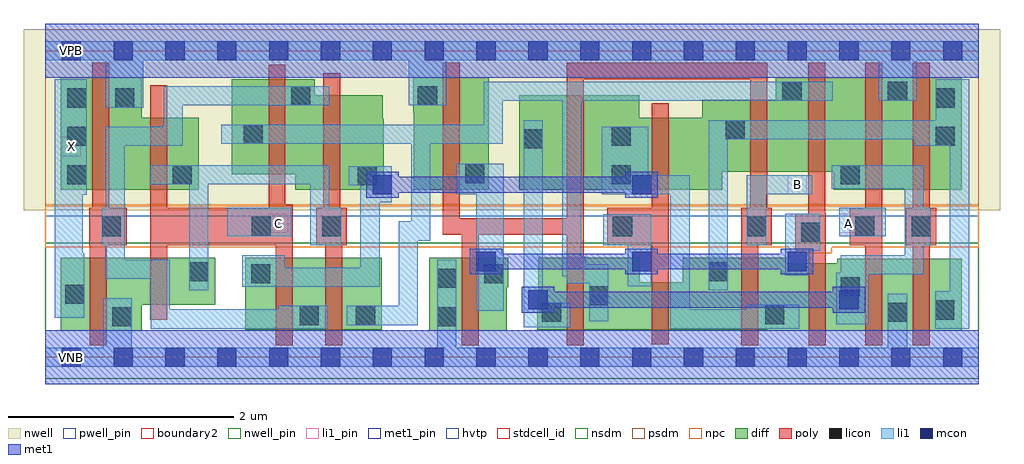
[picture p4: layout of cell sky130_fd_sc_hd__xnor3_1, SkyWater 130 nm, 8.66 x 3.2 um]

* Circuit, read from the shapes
.subckt sky130_fd_sc_hd__xnor3_1 A B C VGND VNB VPB VPWR X
XM1 VGND n1 X VNB sky130_fd_pr__nfet_01v8 w=0.65 l=0.15
XM2 n2 C VGND VNB sky130_fd_pr__nfet_01v8 w=0.42 l=0.15
XM3 n1 C n3 VNB sky130_fd_pr__nfet_01v8 w=0.64 l=0.15
XM4 n4 n2 n1 VNB sky130_fd_pr__nfet_01v8 w=0.64 l=0.15
XM5 n5 B VGND VNB sky130_fd_pr__nfet_01v8 w=0.65 l=0.15
XM6 n4 B n6 VNB sky130_fd_pr__nfet_01v8 w=0.64 l=0.15
XM7 n7 n5 n4 VNB sky130_fd_pr__nfet_01v8 w=0.42 l=0.15
XM8 n3 B n7 VNB sky130_fd_pr__nfet_01v8 w=0.64 l=0.15
XM9 n6 n5 n3 VNB sky130_fd_pr__nfet_01v8 w=0.6 l=0.15
XM10 VGND A n6 VNB sky130_fd_pr__nfet_01v8 w=0.64 l=0.15
XM11 n7 n6 VGND VNB sky130_fd_pr__nfet_01v8 w=0.64 l=0.15
XM12 VPWR n1 X VPB sky130_fd_pr__pfet_01v8_hvt w=1 l=0.15
XM13 n2 C VPWR VPB sky130_fd_pr__pfet_01v8_hvt w=0.64 l=0.15
XM14 n1 C n4 VPB sky130_fd_pr__pfet_01v8_hvt w=0.84 l=0.15
XM15 n3 n2 n1 VPB sky130_fd_pr__pfet_01v8_hvt w=0.84 l=0.15
XM16 n5 B VPWR VPB sky130_fd_pr__pfet_01v8_hvt w=1 l=0.15
XM17 n3 B n6 VPB sky130_fd_pr__pfet_01v8_hvt w=0.84 l=0.15
XM18 n7 n5 n3 VPB sky130_fd_pr__pfet_01v8_hvt w=0.64 l=0.15
XM19 n4 B n7 VPB sky130_fd_pr__pfet_01v8_hvt w=0.64 l=0.15
XM20 n6 n5 n4 VPB sky130_fd_pr__pfet_01v8_hvt w=0.84 l=0.15
XM21 VPWR A n6 VPB sky130_fd_pr__pfet_01v8_hvt w=1 l=0.15
XM22 n7 n6 VPWR VPB sky130_fd_pr__pfet_01v8_hvt w=1 l=0.15
.ends

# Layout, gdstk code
import gdstk
lib = gdstk.Library(unit=1e-6, precision=1e-09)
def R(c, l, rs):  # rectangles x0, y0, x1, y1
    for r in rs: c.add(gdstk.rectangle(r[:2], r[2:], *l))
def A(c, l, x, y, w, h, nx, ny, dx, dy):  # array of equal rectangles
    R(c, l, [(x+i*dx, y+j*dy, x+i*dx+w, y+j*dy+h) for i in range(nx) for j in range(ny)])
def P(c, l, *ps):  # polygons
    for p in ps: c.add(gdstk.Polygon(p, *l))
nwell_pin = (64, 16)
nwell = (64, 20)
diff = (65, 20)
poly = (66, 20)
licon = (66, 44)
li1_pin = (67, 16)
li1 = (67, 20)
mcon = (67, 44)
met1_pin = (68, 16)
met1 = (68, 20)
hvtp = (78, 44)
stdcell_id = (81, 4)
nsdm = (93, 44)
psdm = (94, 20)
npc = (95, 20)
pwell_pin = (122, 16)
boundary2 = (236, 0)

sky130_fd_sc_hd__xnor3_1 = lib.new_cell('sky130_fd_sc_hd__xnor3_1')
R(sky130_fd_sc_hd__xnor3_1, nwell_pin, [(0.145,2.635,0.315,2.805)])
R(sky130_fd_sc_hd__xnor3_1, nwell, [(-0.19,1.305,8.47,2.91)])
R(sky130_fd_sc_hd__xnor3_1, diff, [(1.775,0.245,2.985,0.885)])
P(sky130_fd_sc_hd__xnor3_1, diff, [(1.36,2.125),(0.855,2.125),(0.855,2.485),(0.135,2.485),(0.135,1.485),(1.36,1.485)],
  [(1.505,0.885),(0.135,0.885),(0.135,0.235),(0.855,0.235),(0.855,0.465),(1.505,0.465)],
  [(3,2.115),(2.995,2.115),(2.995,2.325),(2.39,2.325),(2.39,2.465),(1.655,2.465),(1.655,1.625),(2.215,1.625),(2.215,1.485),(3,1.485)],
  [(3.935,2.485),(3.265,2.485),(3.265,2.175),(3.27,2.175),(3.27,1.485),(3.935,1.485)],
  [(4.105,0.885),(3.405,0.885),(3.405,0.235),(4.095,0.235),(4.095,0.62),(4.105,0.62)],
  [(8.13,2.485),(6.48,2.485),(6.48,2.285),(5.83,2.285),(5.83,2.125),(5.27,2.125),(5.27,2.325),(4.205,2.325),(4.205,1.485),(6.005,1.485),(6.005,1.645),(6.995,1.645),(6.995,1.485),(8.13,1.485)],
  [(8.13,0.875),(7.025,0.875),(7.025,0.835),(6.575,0.835),(6.575,0.885),(5.655,0.885),(5.655,0.665),(5.275,0.665),(5.275,0.885),(4.375,0.885),(4.375,0.52),(4.365,0.52),(4.365,0.245),(6.41,0.245),(6.41,0.235),(8.13,0.235)])
P(sky130_fd_sc_hd__xnor3_1, poly, [(0.72,1.325),(0.565,1.325),(0.565,2.615),(0.415,2.615),(0.415,1.325),(0.39,1.325),(0.39,0.995),(0.395,0.995),(0.395,0.105),(0.545,0.105),(0.545,0.995),(0.72,0.995)],
  [(2.195,1.355),(2.13,1.355),(2.13,2.595),(1.98,2.595),(1.98,1.325),(1.08,1.325),(1.08,2.415),(0.93,2.415),(0.93,0.335),(1.08,0.335),(1.08,0.995),(2.045,0.995),(2.045,0.105),(2.195,0.105)],
  [(2.675,1.325),(2.615,1.325),(2.615,2.52),(2.465,2.52),(2.465,1.325),(2.405,1.325),(2.405,0.995),(2.485,0.995),(2.485,0.105),(2.635,0.105),(2.635,0.995),(2.675,0.995)],
  [(5.53,2.255),(5.38,2.255),(5.38,1.325),(4.985,1.325),(4.985,0.995),(5.38,0.995),(5.38,0.115),(5.53,0.115)],
  [(6.445,1.325),(6.405,1.325),(6.405,2.615),(4.625,2.615),(4.625,1.235),(3.675,1.235),(3.675,2.615),(3.525,2.615),(3.525,1.085),(3.695,1.085),(3.695,0.105),(3.845,0.105),(3.845,1.085),(4.625,1.085),(4.625,0.105),(4.775,0.105),(4.775,2.465),(6.255,2.465),(6.255,1.325),(6.175,1.325),(6.175,0.105),(6.325,0.105),(6.325,0.995),(6.445,0.995)],
  [(7.905,1.325),(7.845,1.325),(7.845,2.615),(7.695,2.615),(7.695,1.325),(7.635,1.325),(7.635,0.995),(7.695,0.995),(7.695,0.105),(7.845,0.105),(7.845,0.995),(7.905,0.995)],
  [(6.925,1.28),(6.92,1.28),(6.92,2.615),(6.77,2.615),(6.77,1.275),(6.655,1.275),(6.655,0.945),(6.775,0.945),(6.775,0.105),(6.925,0.105)],
  [(7.425,2.615),(7.275,2.615),(7.275,1.325),(7.135,1.325),(7.135,0.995),(7.275,0.995),(7.275,0.105),(7.425,0.105)])
A(sky130_fd_sc_hd__xnor3_1, licon, 0.195, 1.535, 0.17, 0.17, 1, 3, 0, 0.34)
R(sky130_fd_sc_hd__xnor3_1, licon, [(0.595,0.275,0.765,0.445), (3.475,0.275,3.645,0.445), (2.255,0.285,2.425,0.455), (2.755,0.285,2.925,0.455), (6.385,0.295,6.555,0.465), (4.405,0.315,4.575,0.485), (7.475,0.315,7.645,0.485), (7.895,0.335,8.065,0.505), (4.825,0.46,4.995,0.63), (0.175,0.475,0.345,0.645), (7.055,0.54,7.225,0.71), (3.475,0.615,3.645,0.785), (1.825,0.655,1.995,0.825), (3.895,0.655,4.065,0.825), (1.275,0.675,1.445,0.845), (5.885,0.675,6.055,0.845), (6.705,1.025,6.875,1.195), (0.5,1.075,0.67,1.245), (1.83,1.075,2,1.245), (2.455,1.075,2.625,1.245), (5.035,1.075,5.205,1.245), (6.225,1.075,6.395,1.245), (7.185,1.075,7.355,1.245), (7.685,1.075,7.855,1.245), (2.77,1.525,2.94,1.695), (1.13,1.535,1.3,1.705), (5.025,1.535,5.195,1.705), (7.055,1.535,7.225,1.705), (3.725,1.545,3.895,1.715), (4.245,1.855,4.415,2.025), (5.025,1.875,5.195,2.045), (7.9,1.875,8.07,2.045), (1.76,1.895,1.93,2.065), (6.035,1.935,6.205,2.105), (0.62,2.215,0.79,2.385), (7.9,2.215,8.07,2.385), (2.18,2.235,2.35,2.405), (3.305,2.235,3.475,2.405), (6.54,2.275,6.71,2.445), (7.475,2.275,7.645,2.445)])
R(sky130_fd_sc_hd__xnor3_1, li1_pin, [(1.985,1.105,2.155,1.275), (7.045,1.105,7.215,1.275), (6.585,1.445,6.755,1.615), (0.145,1.785,0.315,1.955)])
R(sky130_fd_sc_hd__xnor3_1, li1, [(1.615,1.075,2.18,1.325), (7.045,1.075,7.455,1.325)])
P(sky130_fd_sc_hd__xnor3_1, li1, [(8.195,2.465),(7.9,2.465),(7.9,2.105),(5.885,2.105),(5.885,0.595),(6.055,0.595),(6.055,1.935),(7.71,1.935),(7.71,1.875),(8.025,1.875),(8.025,0.585),(7.895,0.585),(7.895,0.255),(8.195,0.255)],
  [(7.855,1.325),(7.795,1.325),(7.795,1.705),(6.975,1.705),(6.975,1.495),(7.625,1.495),(7.625,0.905),(7.055,0.905),(7.055,0.75),(7.015,0.75),(7.015,0.295),(7.305,0.295),(7.305,0.735),(7.795,0.735),(7.795,0.995),(7.855,0.995)],
  [(0.365,2.465),(0.085,2.465),(0.085,0.35),(0.345,0.35),(0.345,0.925),(0.33,0.925),(0.33,1.44),(0.365,1.44)],
  [(2.52,2.405),(1.05,2.405),(1.05,2.045),(0.535,2.045),(0.535,1.325),(0.5,1.325),(0.5,0.995),(0.53,0.995),(0.53,0.695),(0.935,0.695),(0.935,0.255),(2.505,0.255),(2.505,0.455),(2.07,0.455),(2.07,0.425),(1.105,0.425),(1.105,0.865),(0.705,0.865),(0.705,1.875),(1.22,1.875),(1.22,2.235),(2.52,2.235)],
  [(2.625,1.325),(2.52,1.325),(2.52,1.705),(0.935,1.705),(0.935,1.535),(1.275,1.535),(1.275,0.595),(1.445,0.595),(1.445,1.535),(2.35,1.535),(2.35,0.995),(2.625,0.995)],
  [(3.075,1.695),(2.69,1.695),(2.69,1.525),(2.795,1.525),(2.795,0.795),(2.125,0.795),(2.125,0.905),(1.745,0.905),(1.745,0.625),(2.965,0.625),(2.965,1.375),(3.075,1.375)],
  [(4.065,1.715),(3.645,1.715),(3.645,1.445),(3.825,1.445),(3.825,0.415),(4.065,0.415)],
  [(4.655,0.485),(4.455,0.485),(4.455,0.595),(4.415,0.595),(4.415,2.105),(4.245,2.105),(4.245,0.265),(4.655,0.265)],
  [(5.375,1.27),(4.95,1.27),(4.95,0.995),(5.165,0.995),(5.165,0.63),(5.375,0.63)],
  [(6.69,0.465),(6.225,0.465),(6.225,0.425),(5.715,0.425),(5.715,1.615),(5.35,1.615),(5.35,2.045),(4.935,2.045),(4.935,1.445),(5.545,1.445),(5.545,0.255),(6.69,0.255)],
  [(6.805,1.615),(6.225,1.615),(6.225,0.995),(6.395,0.995),(6.395,1.445),(6.805,1.445)],
  [(8.28,0.085),(7.645,0.085),(7.645,0.565),(7.475,0.565),(7.475,0.085),(3.645,0.085),(3.645,0.865),(3.475,0.865),(3.475,0.085),(0.765,0.085),(0.765,0.525),(0.515,0.525),(0.515,0.085),(0,0.085),(0,-0.085),(8.28,-0.085)],
  [(6.875,1.275),(6.565,1.275),(6.565,0.73),(6.77,0.73),(6.77,0.945),(6.875,0.945)],
  [(6.985,2.445),(3.89,2.445),(3.89,2.065),(1.56,2.065),(1.56,1.895),(3.245,1.895),(3.245,1.205),(3.135,1.205),(3.135,0.455),(2.675,0.455),(2.675,0.285),(3.305,0.285),(3.305,1.035),(3.415,1.035),(3.415,1.895),(4.06,1.895),(4.06,2.275),(4.585,2.275),(4.585,0.72),(4.625,0.72),(4.625,0.655),(4.825,0.655),(4.825,0.32),(4.995,0.32),(4.995,0.825),(4.795,0.825),(4.795,0.89),(4.755,0.89),(4.755,2.275),(6.985,2.275)],
  [(8.28,2.805),(0,2.805),(0,2.635),(0.535,2.635),(0.535,2.215),(0.87,2.215),(0.87,2.635),(3.225,2.635),(3.225,2.235),(3.555,2.235),(3.555,2.635),(7.395,2.635),(7.395,2.275),(7.73,2.275),(7.73,2.635),(8.28,2.635)])
A(sky130_fd_sc_hd__xnor3_1, mcon, 0.145, -0.085, 0.17, 0.17, 18, 2, 0.46, 2.72)
A(sky130_fd_sc_hd__xnor3_1, mcon, 3.825, 0.765, 0.17, 0.17, 3, 1, 1.38, 0)
R(sky130_fd_sc_hd__xnor3_1, mcon, [(4.285,0.425,4.455,0.595), (7.045,0.425,7.215,0.595), (2.905,1.445,3.075,1.615), (5.205,1.445,5.375,1.615)])
R(sky130_fd_sc_hd__xnor3_1, met1_pin, [(0.145,-0.085,0.315,0.085), (0.145,2.635,0.315,2.805)])
P(sky130_fd_sc_hd__xnor3_1, met1, [(6.815,0.965),(6.525,0.965),(6.525,0.92),(5.435,0.92),(5.435,0.965),(5.145,0.965),(5.145,0.92),(4.055,0.92),(4.055,0.965),(3.765,0.965),(3.765,0.735),(4.055,0.735),(4.055,0.78),(5.145,0.78),(5.145,0.735),(5.435,0.735),(5.435,0.78),(6.525,0.78),(6.525,0.735),(6.815,0.735)],
  [(7.275,0.625),(6.985,0.625),(6.985,0.58),(4.515,0.58),(4.515,0.625),(4.225,0.625),(4.225,0.395),(4.515,0.395),(4.515,0.44),(6.985,0.44),(6.985,0.395),(7.275,0.395)],
  [(5.435,1.645),(5.145,1.645),(5.145,1.6),(3.135,1.6),(3.135,1.645),(2.845,1.645),(2.845,1.415),(3.135,1.415),(3.135,1.46),(5.145,1.46),(5.145,1.415),(5.435,1.415)])
R(sky130_fd_sc_hd__xnor3_1, hvtp, [(0,1.25,8.28,2.72)])
R(sky130_fd_sc_hd__xnor3_1, stdcell_id, [(0,0,8.28,2.72)])
R(sky130_fd_sc_hd__xnor3_1, nsdm, [(0,-0.19,8.28,1.015)])
R(sky130_fd_sc_hd__xnor3_1, psdm, [(0,1.355,8.28,2.91)])
P(sky130_fd_sc_hd__xnor3_1, npc, [(8.28,1.345),(0,1.345),(0,0.975),(6.605,0.975),(6.605,0.925),(6.975,0.925),(6.975,0.975),(8.28,0.975)])
R(sky130_fd_sc_hd__xnor3_1, pwell_pin, [(0.145,-0.085,0.315,0.085)])
R(sky130_fd_sc_hd__xnor3_1, boundary2, [(0,0,8.28,2.72)])
sky130_fd_sc_hd__xnor3_1.add(gdstk.FlexPath([(0,2.72),(8.28,2.72)], 0.48, ends="flush", simple_path=True, layer=68, datatype=20))  # met1
sky130_fd_sc_hd__xnor3_1.add(gdstk.FlexPath([(0,0),(8.28,0)], 0.48, ends="flush", simple_path=True, layer=68, datatype=20))  # met1
sky130_fd_sc_hd__xnor3_1.add(gdstk.Label('X', (0.23,1.87), layer=67, texttype=5))
sky130_fd_sc_hd__xnor3_1.add(gdstk.Label('B', (6.67,1.53), layer=67, texttype=5))
sky130_fd_sc_hd__xnor3_1.add(gdstk.Label('C', (2.07,1.19), layer=67, texttype=5))
sky130_fd_sc_hd__xnor3_1.add(gdstk.Label('A', (7.13,1.19), layer=67, texttype=5))
sky130_fd_sc_hd__xnor3_1.add(gdstk.Label('VNB', (0.23,0), layer=64, texttype=59))
sky130_fd_sc_hd__xnor3_1.add(gdstk.Label('VPB', (0.23,2.72), layer=64, texttype=5))
sky130_fd_sc_hd__xnor3_1.add(gdstk.Label('VGND', (0.23,0), layer=68, texttype=5))
sky130_fd_sc_hd__xnor3_1.add(gdstk.Label('VPWR', (0.23,2.72), layer=68, texttype=5))
sky130_fd_sc_hd__xnor3_1.add(gdstk.Label('xnor3_1', (0,0), layer=83, texttype=44))

lib.write_gds('sky130_fd_sc_hd__xnor3_1.gds')
